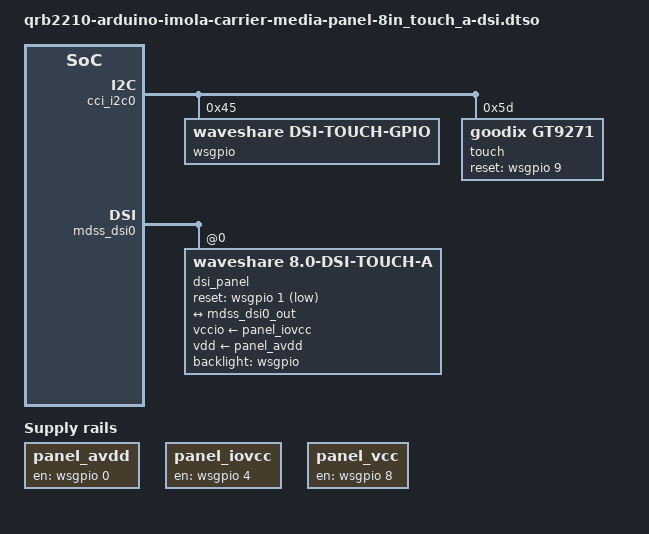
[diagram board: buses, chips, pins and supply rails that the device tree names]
// SPDX-License-Identifier: (GPL-2.0+ OR BSD-3-Clause)
/*
 * Copyright (c) 2025, Arduino SA
 */

 /dts-v1/;
/plugin/;

#include <dt-bindings/gpio/gpio.h>
#include "qrb2210-arduino-imola-carrier-media-common.dtsi"

&{/} {
	panel_avdd: regulator-panel-avdd {
		compatible = "regulator-fixed";
		regulator-name = "panel-avdd";
		gpios = <&wsgpio 0 GPIO_ACTIVE_HIGH>;
		enable-active-high;
	};

	panel_iovcc: regulator-panel-iovcc {
		compatible = "regulator-fixed";
		regulator-name = "panel-iovcc";
		gpios = <&wsgpio 4 GPIO_ACTIVE_HIGH>;
		enable-active-high;
	};

	panel_vcc: regulator-panel-vcc {
		compatible = "regulator-fixed";
		regulator-name = "panel-vcc";
		gpios = <&wsgpio 8 GPIO_ACTIVE_HIGH>;
		enable-active-high;
		regulator-always-on;
	};
};

&cci_i2c0 {
	#address-cells = <1>;
	#size-cells = <0>;

	wsgpio: gpio@45 {
		compatible = "waveshare,dsi-touch-gpio";
		reg = <0x45>;
		gpio-controller;
		#gpio-cells = <2>;
	};

	touch: goodix@5d {
		compatible = "goodix,gt9271";
		reg = <0x5d>;
		reset-gpio = <&wsgpio 9 GPIO_ACTIVE_HIGH>;
	};
};

&mdss_dsi0 {
	vdda-supply = <&pm4125_l5>;
	#address-cells = <1>;
	#size-cells = <0>;

	status = "okay";

	dsi_panel: dsi_panel@0 {
		reg = <0>;
		compatible = "waveshare,8.0-dsi-touch-a", "jadard,jd9365da-h3";
		reset-gpio = <&wsgpio 1 GPIO_ACTIVE_LOW>;
		vccio-supply = <&panel_iovcc>;
		vdd-supply = <&panel_avdd>;
		backlight = <&wsgpio>;

		port {
			panel_in: endpoint {
				remote-endpoint = <&mdss_dsi0_out>;
			};
		};
	};
};

&mdss_dsi0_out {
	remote-endpoint = <&panel_in>;
	data-lanes = <0 1 2 3>;
};
